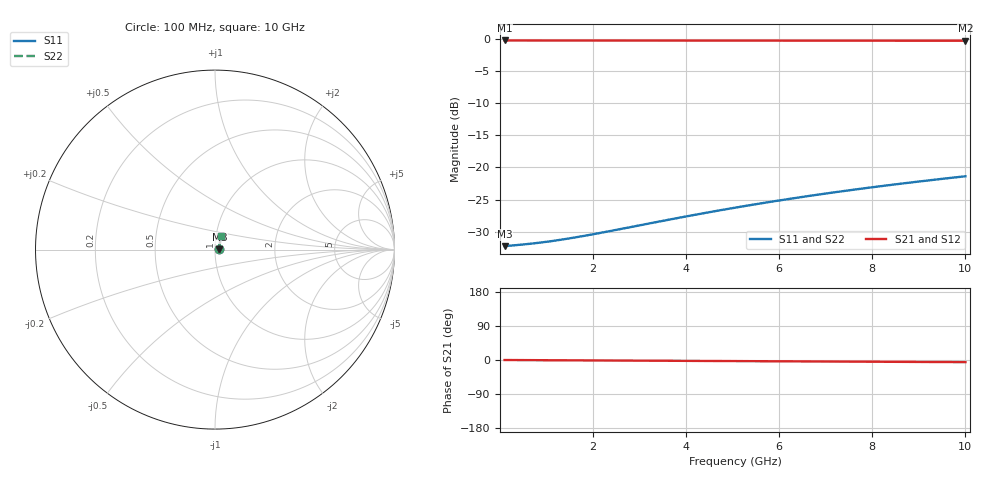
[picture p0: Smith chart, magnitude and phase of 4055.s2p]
# Hz S RI R 50.00
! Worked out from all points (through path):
!   100 points, 100 MHz to 10 GHz, reference 50 ohm
!   highest |S21| = -0.21 dB at 100 MHz (marker M1); lowest = -0.3 dB at 10 GHz (marker M2)
!   lowest |S11| = -32.3 dB at 100 MHz (marker M3), VSWR 1.05, Z = 52.5 + j0.0832 ohm
!   |S11| at or under -10 dB: start of sweep to end of sweep
!   |S22| runs from -32.3 to -21.4 dB; largest |S21 - S12| = 0
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1e8  0.0243 0.000792  0.9757 -0.00097  0.9757 -0.00097  0.0243 0.000792
6e8  0.0249 0.00475  0.9751 -0.00582  0.9751 -0.00582  0.0249 0.00475
9e8  0.0251 0.00711  0.9749 -0.00872  0.9749 -0.00872  0.0251 0.00711
1.1e9  0.0252 0.00869  0.9748 -0.0107  0.9748 -0.0107  0.0252 0.00869
1.3e9  0.0253 0.0103  0.9747 -0.0126  0.9747 -0.0126  0.0253 0.0103
1.5e9  0.0254 0.0119  0.9746 -0.0145  0.9746 -0.0145  0.0254 0.0119
1.8e9  0.0256 0.0142  0.9744 -0.0174  0.9744 -0.0174  0.0256 0.0142
2.3e9  0.0259 0.0182  0.9741 -0.0223  0.9741 -0.0223  0.0259 0.0182
3.4e9  0.0265 0.0268  0.9734 -0.0329  0.9734 -0.0329  0.0265 0.0268
3.9e9  0.0269 0.0307  0.9731 -0.0377  0.9731 -0.0377  0.0269 0.0307
4.3e9  0.0272 0.0339  0.9727 -0.0416  0.9727 -0.0416  0.0272 0.0339
4.7e9  0.0275 0.037  0.9724 -0.0454  0.9724 -0.0454  0.0275 0.037
5.1e9  0.0279 0.0402  0.9721 -0.0493  0.9721 -0.0493  0.0279 0.0402
5.5e9  0.0283 0.0433  0.9717 -0.0531  0.9717 -0.0531  0.0283 0.0433
5.9e9  0.0287 0.0464  0.9713 -0.057  0.9713 -0.057  0.0287 0.0464
6.3e9  0.0291 0.0495  0.9708 -0.0608  0.9708 -0.0608  0.0291 0.0495
6.7e9  0.0295 0.0527  0.9704 -0.0646  0.9704 -0.0646  0.0295 0.0527
7.5e9  0.0305 0.0589  0.9694 -0.0723  0.9694 -0.0723  0.0305 0.0589
7.9e9  0.031 0.062  0.9689 -0.0761  0.9689 -0.0761  0.031 0.062
8.4e9  0.0317 0.0659  0.9682 -0.0809  0.9682 -0.0809  0.0317 0.0659
9.2e9  0.0328 0.072  0.967 -0.0885  0.967 -0.0885  0.0328 0.072
1e10  0.0341 0.0782  0.9658 -0.0961  0.9658 -0.0961  0.0341 0.0782
